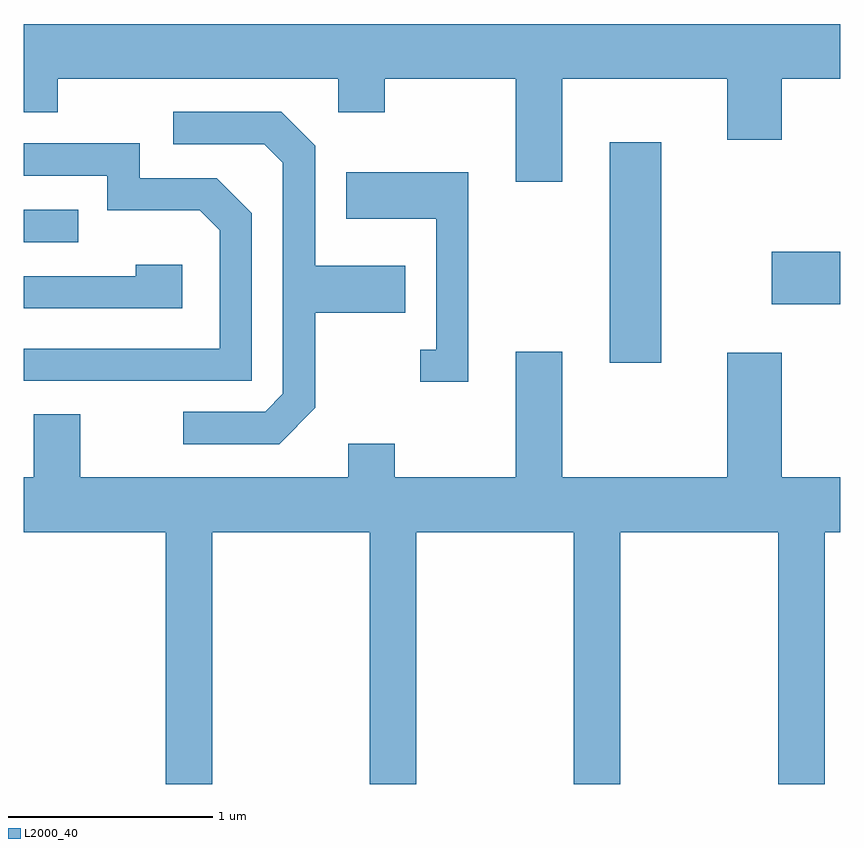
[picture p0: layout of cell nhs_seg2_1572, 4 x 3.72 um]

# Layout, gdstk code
import gdstk
lib = gdstk.Library(unit=1e-6, precision=1e-09)
def R(c, l, rs):  # rectangles x0, y0, x1, y1
    for r in rs: c.add(gdstk.rectangle(r[:2], r[2:], *l))
def P(c, l, *ps):  # polygons
    for p in ps: c.add(gdstk.Polygon(p, *l))
L2000_40 = (2000, 40)

nhs_seg2_1572 = lib.new_cell('nhs_seg2_1572')
R(nhs_seg2_1572, L2000_40, [(234.481,995.866,234.734,996.944), (235.276,996.151,235.611,996.409), (231.611,996.456,231.878,996.614)])
P(nhs_seg2_1572, L2000_40, [(234.249,997.256),(235.056,997.256),(235.056,996.956),(235.324,996.956),(235.324,997.256),(235.611,997.256),(235.611,997.524),(231.611,997.524),(231.611,997.091),(231.779,997.091),(231.779,997.256),(233.151,997.256),(233.151,997.091),(233.379,997.091),(233.379,997.256),(234.021,997.256),(234.021,996.751),(234.249,996.751)],
  [(233.039,995.644),(233.039,996.111),(233.479,996.111),(233.479,996.339),(233.039,996.339),(233.039,996.927),(232.872,997.094),(232.343,997.094),(232.343,996.936),(232.789,996.936),(232.881,996.844),(232.881,995.712),(232.794,995.624),(232.393,995.624),(232.393,995.466),(232.862,995.466)],
  [(232.729,996.597),(232.557,996.769),(232.179,996.769),(232.179,996.939),(231.611,996.939),(231.611,996.781),(232.021,996.781),(232.021,996.611),(232.474,996.611),(232.571,996.514),(232.571,995.934),(231.611,995.934),(231.611,995.776),(232.729,995.776)],
  [(233.789,996.799),(233.191,996.799),(233.191,996.571),(233.631,996.571),(233.631,995.929),(233.553,995.929),(233.553,995.771),(233.789,995.771)],
  [(232.389,996.344),(232.161,996.344),(232.161,996.289),(231.611,996.289),(231.611,996.131),(232.389,996.131)],
  [(232.534,995.036),(233.306,995.036),(233.306,993.802),(233.534,993.802),(233.534,995.036),(234.306,995.036),(234.306,993.802),(234.534,993.802),(234.534,995.036),(235.306,995.036),(235.306,993.802),(235.534,993.802),(235.534,995.036),(235.611,995.036),(235.611,995.304),(235.324,995.304),(235.324,995.914),(235.056,995.914),(235.056,995.304),(234.249,995.304),(234.249,995.919),(234.021,995.919),(234.021,995.304),(233.429,995.304),(233.429,995.469),(233.201,995.469),(233.201,995.304),(231.889,995.304),(231.889,995.614),(231.661,995.614),(231.661,995.304),(231.611,995.304),(231.611,995.036),(232.306,995.036),(232.306,993.802),(232.534,993.802)])

lib.write_gds('nhs_seg2_1572.gds')
